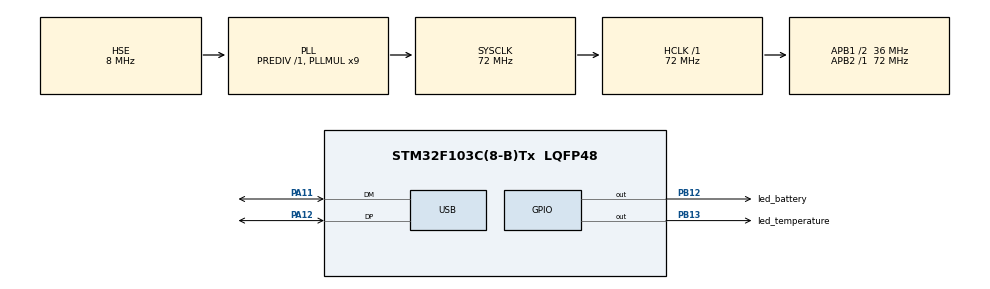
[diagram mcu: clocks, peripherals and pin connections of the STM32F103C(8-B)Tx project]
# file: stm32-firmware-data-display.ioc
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Mcu.Family=STM32F1
Mcu.Name=STM32F103C(8-B)Tx
Mcu.Package=LQFP48
NVIC.PriorityGroup=NVIC_PRIORITYGROUP_4
NVIC.USB_LP_CAN1_RX0_IRQn=true\:0\:0\:false\:false\:true\:false\:true\:true
PA11.Mode=Device
PA11.Signal=USB_DM
PA12.Mode=Device
PA12.Signal=USB_DP
PA13.Mode=Serial_Wire
PA13.Signal=SYS_JTMS-SWDIO
PA14.Mode=Serial_Wire
PA14.Signal=SYS_JTCK-SWCLK
PB12.GPIO_Label=led_battery
PB12.Signal=GPIO_Output
PB13.GPIO_Label=led_temperature
PB13.Signal=GPIO_Output
PD0-OSC_IN.Mode=HSE-External-Oscillator
PD0-OSC_IN.Signal=RCC_OSC_IN
PD1-OSC_OUT.Mode=HSE-External-Oscillator
PD1-OSC_OUT.Signal=RCC_OSC_OUT
ProjectManager.HeapSize=0x200
ProjectManager.StackSize=0x400
ProjectManager.TargetToolchain=STM32CubeIDE
RCC.AHBFreq_Value=72000000
RCC.APB1CLKDivider=RCC_HCLK_DIV2
RCC.APB1Freq_Value=36000000
RCC.APB1TimFreq_Value=72000000
RCC.APB2Freq_Value=72000000
RCC.APB2TimFreq_Value=72000000
RCC.HCLKFreq_Value=72000000
RCC.PLLMUL=RCC_PLL_MUL9
RCC.SYSCLKFreq_VALUE=72000000
RCC.SYSCLKSource=RCC_SYSCLKSOURCE_PLLCLK
RCC.USBFreq_Value=48000000
RCC.USBPrescaler=RCC_USBCLKSOURCE_PLL_DIV1_5
USB_DEVICE.CLASS_NAME_FS=CDC
USB_DEVICE.VirtualMode=Cdc
USB_DEVICE.VirtualModeFS=Cdc_FS
VP_USB_DEVICE_VS_USB_DEVICE_CDC_FS.Mode=CDC_FS
board=custom

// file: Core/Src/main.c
/* USER CODE BEGIN Header */
/**
  ******************************************************************************
  * @file           : main.c
  * @brief          : Main program body
  ******************************************************************************
  * @attention
  *
  * Copyright (c) 2025 STMicroelectronics.
  * All rights reserved.
  *
  * This software is licensed under terms that can be found in the LICENSE file
  * in the root directory of this software component.
  * If no LICENSE file comes with this software, it is provided AS-IS.
  *
  ******************************************************************************
  */
/* USER CODE END Header */
#include "main.h"
#include "usb_device.h"

/* USER CODE BEGIN Includes */
#include "ringbuffer.h"
#include "usbd_cdc_if.h"
/* USER CODE END Includes */

void SystemClock_Config(void);
static void MX_GPIO_Init(void);

/* USER CODE BEGIN 0 */
RingBuffer buf;
/* USER CODE END 0 */

int main(void)
{

  /* USER CODE BEGIN 1 */
	ringbuffer_init(&buf);
  /* USER CODE END 1 */

  /* MCU Configuration--------------------------------------------------------*/

  /* Reset of all peripherals, Initializes the Flash interface and the Systick. */
  HAL_Init();

  /* Configure the system clock */
  SystemClock_Config();

  /* Initialize all configured peripherals */
  MX_GPIO_Init();
  MX_USB_DEVICE_Init();
  char msg[4];
  /* Infinite loop */
  /* USER CODE BEGIN WHILE */
  while (1)
  {
	  ringbuffer_copy_line(&buf, msg);

	  if (msg[0] == 'T'){
		  if (msg[1] == '1')
			  HAL_GPIO_WritePin(GPIOB, led_temperature_Pin, GPIO_PIN_SET);
		  else
			  HAL_GPIO_WritePin(GPIOB, led_temperature_Pin, GPIO_PIN_RESET);
	  }
	  if (msg[0] == 'B') {
		  if (msg[1] == '1'){
			  HAL_GPIO_WritePin(GPIOB, led_battery_Pin, GPIO_PIN_SET);
		  }else
			  HAL_GPIO_WritePin(GPIOB, led_battery_Pin, GPIO_PIN_RESET);
	  }
    /* USER CODE END WHILE */

  }
}
void SystemClock_Config(void)
{
  RCC_OscInitTypeDef RCC_OscInitStruct = {0};
  RCC_ClkInitTypeDef RCC_ClkInitStruct = {0};
  RCC_PeriphCLKInitTypeDef PeriphClkInit = {0};

  /** Initializes the RCC Oscillators according to the specified parameters
  * in the RCC_OscInitTypeDef structure.
  */
  RCC_OscInitStruct.OscillatorType = RCC_OSCILLATORTYPE_HSE;
  RCC_OscInitStruct.HSEState = RCC_HSE_ON;
  RCC_OscInitStruct.HSEPredivValue = RCC_HSE_PREDIV_DIV1;
  RCC_OscInitStruct.HSIState = RCC_HSI_ON;
  RCC_OscInitStruct.PLL.PLLState = RCC_PLL_ON;
  RCC_OscInitStruct.PLL.PLLSource = RCC_PLLSOURCE_HSE;
  RCC_OscInitStruct.PLL.PLLMUL = RCC_PLL_MUL9;
  if (HAL_RCC_OscConfig(&RCC_OscInitStruct) != HAL_OK)
  {
    Error_Handler();
  }

  /** Initializes the CPU, AHB and APB buses clocks
  */
  RCC_ClkInitStruct.ClockType = RCC_CLOCKTYPE_HCLK|RCC_CLOCKTYPE_SYSCLK
                              |RCC_CLOCKTYPE_PCLK1|RCC_CLOCKTYPE_PCLK2;
  RCC_ClkInitStruct.SYSCLKSource = RCC_SYSCLKSOURCE_PLLCLK;
  RCC_ClkInitStruct.AHBCLKDivider = RCC_SYSCLK_DIV1;
  RCC_ClkInitStruct.APB1CLKDivider = RCC_HCLK_DIV2;
  RCC_ClkInitStruct.APB2CLKDivider = RCC_HCLK_DIV1;

  if (HAL_RCC_ClockConfig(&RCC_ClkInitStruct, FLASH_LATENCY_2) != HAL_OK)
  {
    Error_Handler();
  }
  PeriphClkInit.PeriphClockSelection = RCC_PERIPHCLK_USB;
  PeriphClkInit.UsbClockSelection = RCC_USBCLKSOURCE_PLL_DIV1_5;
  if (HAL_RCCEx_PeriphCLKConfig(&PeriphClkInit) != HAL_OK)
  {
    Error_Handler();
  }
}

static void MX_GPIO_Init(void)
{
  GPIO_InitTypeDef GPIO_InitStruct = {0};

  /* GPIO Ports Clock Enable */
  __HAL_RCC_GPIOD_CLK_ENABLE();
  __HAL_RCC_GPIOB_CLK_ENABLE();
  __HAL_RCC_GPIOA_CLK_ENABLE();

  /*Configure GPIO pin Output Level */
  HAL_GPIO_WritePin(GPIOB, led_battery_Pin|led_temperature_Pin, GPIO_PIN_RESET);

  /*Configure GPIO pins : led_battery_Pin led_temperature_Pin */
  GPIO_InitStruct.Pin = led_battery_Pin|led_temperature_Pin;
  GPIO_InitStruct.Mode = GPIO_MODE_OUTPUT_PP;
  GPIO_InitStruct.Pull = GPIO_NOPULL;
  GPIO_InitStruct.Speed = GPIO_SPEED_FREQ_LOW;
  HAL_GPIO_Init(GPIOB, &GPIO_InitStruct);

}

void Error_Handler(void)
{
  __disable_irq();
  while (1)
  {
  }
}
